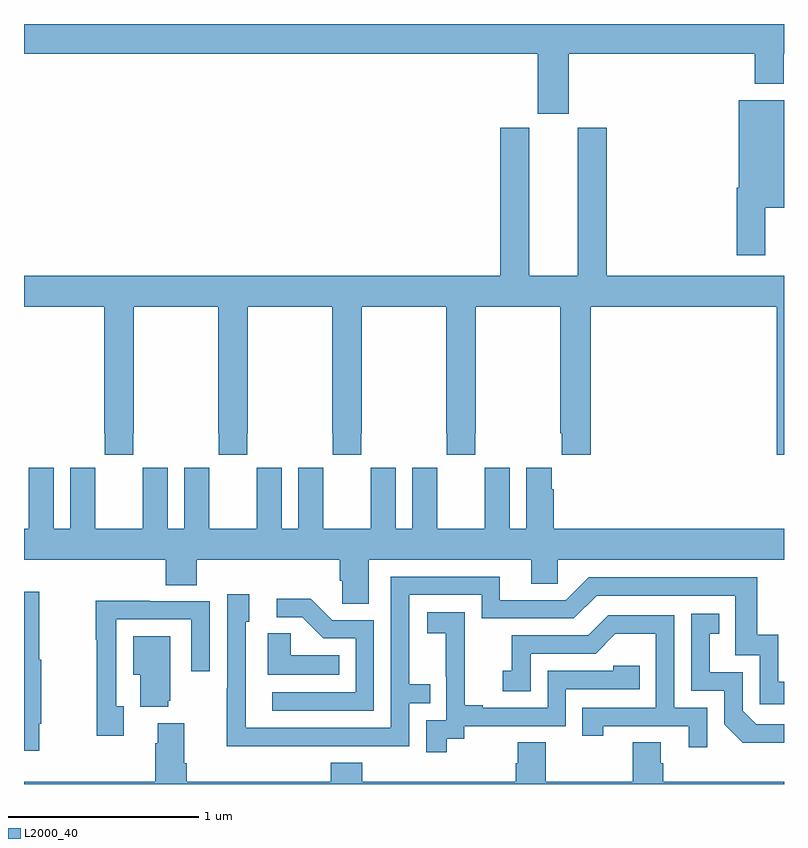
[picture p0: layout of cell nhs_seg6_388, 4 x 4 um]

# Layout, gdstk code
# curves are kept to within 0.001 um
import gdstk
lib = gdstk.Library(unit=1e-6, precision=1e-09)
def P(c, l, *ps):  # polygons
    for p in ps: c.add(gdstk.Polygon(p, *l))
L2000_40 = (2000, 40)

nhs_seg6_388 = lib.new_cell('nhs_seg6_388')
P(nhs_seg6_388, L2000_40, [(135.868,939.344),(136.847,939.344),(136.847,939.185),(136.999,939.185),(136.999,939.344),(137,939.344),(137,939.5),(133,939.5),(133,939.344),(135.704,939.344),(135.704,939.027),(135.868,939.027)],
  [(136.9,938.534),(137,938.534),(137,939.1),(136.763,939.1),(136.763,938.638),(136.751,938.638),(136.751,938.283),(136.9,938.283)],
  [(133.575,937.345),(133.578,937.345),(133.578,938.012),(134.023,938.012),(134.023,937.345),(134.025,937.345),(134.025,937.233),(134.175,937.233),(134.175,937.345),(134.178,937.345),(134.178,938.012),(134.623,938.012),(134.623,937.345),(134.625,937.345),(134.625,937.233),(134.775,937.233),(134.775,937.345),(134.778,937.345),(134.778,938.012),(135.223,938.012),(135.223,937.345),(135.225,937.345),(135.225,937.233),(135.375,937.233),(135.375,937.345),(135.378,937.345),(135.378,938.012),(135.823,938.012),(135.823,937.345),(135.829,937.345),(135.829,937.233),(135.983,937.233),(135.983,938.012),(136.961,938.012),(136.961,937.233),(137,937.233),(137,938.176),(136.067,938.176),(136.067,938.955),(135.914,938.955),(135.914,938.176),(135.658,938.176),(135.658,938.955),(135.506,938.955),(135.506,938.176),(133,938.176),(133,938.012),(133.423,938.012),(133.423,937.345),(133.425,937.345),(133.425,937.233),(133.575,937.233)],
  [(133.745,936.547),(133.91,936.547),(133.91,936.68),(134.663,936.68),(134.663,936.571),(134.676,936.571),(134.676,936.448),(134.815,936.448),(134.815,936.68),(135.671,936.68),(135.671,936.553),(135.81,936.553),(135.81,936.68),(137,936.68),(137,936.844),(135.788,936.844),(135.788,937.052),(135.778,937.052),(135.778,937.165),(135.644,937.165),(135.644,936.844),(135.556,936.844),(135.556,937.165),(135.426,937.165),(135.426,937.052),(135.425,937.052),(135.425,936.844),(135.175,936.844),(135.175,937.052),(135.174,937.052),(135.174,937.165),(135.044,937.165),(135.044,936.844),(134.956,936.844),(134.956,937.165),(134.826,937.165),(134.826,937.052),(134.825,937.052),(134.825,936.844),(134.575,936.844),(134.575,937.052),(134.574,937.052),(134.574,937.165),(134.444,937.165),(134.444,936.844),(134.356,936.844),(134.356,937.165),(134.226,937.165),(134.226,937.052),(134.225,937.052),(134.225,936.844),(133.975,936.844),(133.975,937.052),(133.974,937.052),(133.974,937.165),(133.844,937.165),(133.844,936.844),(133.756,936.844),(133.756,937.165),(133.626,937.165),(133.626,937.052),(133.625,937.052),(133.625,936.844),(133.375,936.844),(133.375,937.052),(133.374,937.052),(133.374,937.165),(133.244,937.165),(133.244,936.844),(133.156,936.844),(133.156,937.165),(133.026,937.165),(133.026,937.052),(133.025,937.052),(133.025,936.844),(133,936.844),(133,936.68),(133.745,936.68)],
  [(134.531,935.7),(135.027,935.7),(135.027,935.925),(135.137,935.925),(135.137,936.026),(135.027,936.026),(135.027,936.495),(135.408,936.495),(135.408,936.372),(135.894,936.372),(136.014,936.492),(136.743,936.492),(136.743,936.177),(136.872,936.177),(136.872,935.919),(137,935.919),(137,936.039),(136.97,936.039),(136.97,936.286),(136.859,936.286),(136.859,936.588),(135.972,936.588),(135.852,936.468),(135.505,936.468),(135.505,936.591),(134.931,936.591),(134.931,935.796),(134.166,935.796),(134.166,936.354),(134.185,936.354),(134.185,936.499),(134.07,936.499),(134.07,936.005),(134.068,936.005),(134.068,935.699)],
  [(133.08,935.817),(133.09,935.817),(133.09,936.153),(133.08,936.153),(133.08,936.511),(133,936.511),(133,935.676),(133.08,935.676)],
  [(134.841,936.363),(134.622,936.363),(134.509,936.476),(134.331,936.476),(134.331,936.378),(134.465,936.378),(134.576,936.267),(134.745,936.267),(134.745,935.982),(134.307,935.982),(134.307,935.886),(134.841,935.886)],
  [(133.525,935.91),(133.485,935.91),(133.485,936.366),(133.881,936.366),(133.881,936.093),(133.977,936.093),(133.977,936.462),(133.661,936.462),(133.661,936.464),(133.377,936.464),(133.377,936.259),(133.384,936.259),(133.384,935.754),(133.525,935.754)],
  [(135.226,935.737),(135.318,935.737),(135.318,935.805),(135.852,935.805),(135.852,936),(136.241,936),(136.241,936.123),(136.101,936.123),(136.101,936.096),(135.756,936.096),(135.756,935.901),(135.415,935.901),(135.415,935.914),(135.32,935.914),(135.32,936.197),(135.321,936.197),(135.321,936.403),(135.123,936.403),(135.123,936.293),(135.221,936.293),(135.221,936.065),(135.222,936.065),(135.222,935.835),(135.117,935.835),(135.117,935.667),(135.226,935.667)],
  [(137,935.814),(136.854,935.814),(136.782,935.886),(136.782,936.087),(136.609,936.087),(136.609,936.291),(136.658,936.291),(136.658,936.397),(136.512,936.397),(136.512,935.991),(136.686,935.991),(136.686,935.814),(136.784,935.717),(137,935.717)],
  [(136.596,935.901),(136.422,935.901),(136.422,936.387),(136.076,936.387),(135.971,936.282),(135.568,936.282),(135.568,936.097),(135.519,936.097),(135.519,935.988),(135.666,935.988),(135.666,936.186),(136.008,936.186),(136.112,936.29),(136.326,936.29),(136.326,935.901),(135.937,935.901),(135.937,935.754),(136.048,935.754),(136.048,935.805),(136.499,935.805),(136.499,935.694),(136.596,935.694)],
  [(134.66,936.178),(134.403,936.178),(134.403,936.293),(134.282,936.293),(134.282,936.074),(134.66,936.074)],
  [(133.76,935.937),(133.771,935.937),(133.771,936.277),(133.574,936.277),(133.574,936.074),(133.613,936.074),(133.613,935.906),(133.76,935.906)],
  [(137,935.512),(136.364,935.512),(136.364,935.61),(136.351,935.61),(136.351,935.72),(136.204,935.72),(136.204,935.512),(135.747,935.512),(135.747,935.72),(135.599,935.72),(135.599,935.61),(135.587,935.61),(135.587,935.512),(134.78,935.512),(134.78,935.611),(134.615,935.611),(134.615,935.512),(133.856,935.512),(133.856,935.608),(133.843,935.608),(133.843,935.821),(133.703,935.821),(133.703,935.714),(133.691,935.714),(133.691,935.512),(133,935.512),(133,935.5),(137,935.5)])

lib.write_gds('nhs_seg6_388.gds')
